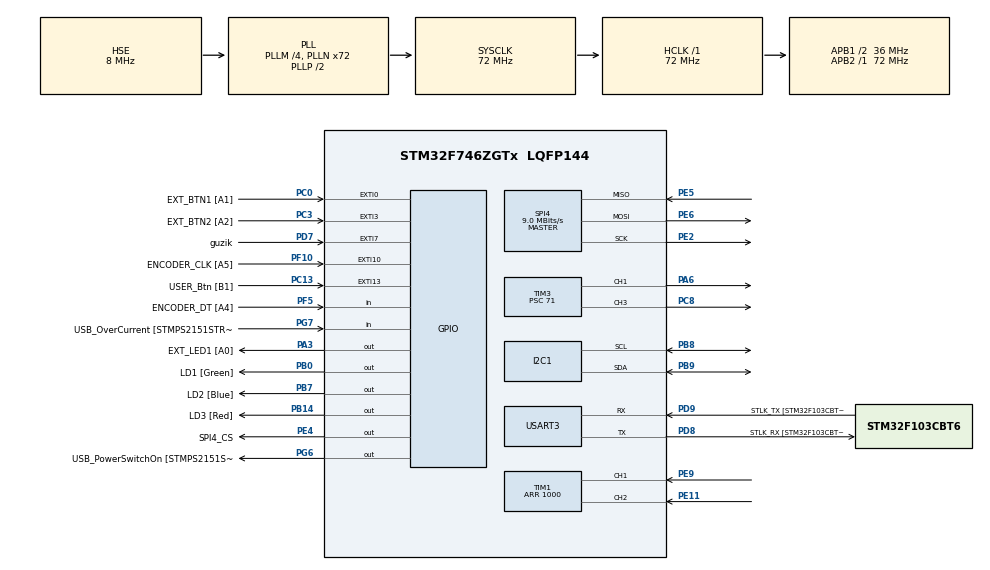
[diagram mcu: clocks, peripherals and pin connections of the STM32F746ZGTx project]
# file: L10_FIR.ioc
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I2C1.Timing=0x00808CD2
Mcu.Family=STM32F7
Mcu.Name=STM32F746ZGTx
Mcu.Package=LQFP144
NVIC.EXTI0_IRQn=true\:0\:0\:false\:false\:true\:true\:true
NVIC.EXTI15_10_IRQn=true\:0\:0\:false\:false\:true\:true\:true
NVIC.EXTI3_IRQn=true\:0\:0\:false\:false\:true\:true\:true
NVIC.EXTI9_5_IRQn=true\:0\:0\:false\:false\:true\:true\:true
NVIC.PriorityGroup=NVIC_PRIORITYGROUP_4
NVIC.TIM1_BRK_TIM9_IRQn=true\:0\:0\:false\:false\:true\:true\:true
NVIC.TIM1_CC_IRQn=true\:0\:0\:false\:false\:true\:true\:true
NVIC.TIM1_TRG_COM_TIM11_IRQn=true\:0\:0\:false\:false\:true\:true\:true
NVIC.TIM1_UP_TIM10_IRQn=true\:0\:0\:false\:false\:true\:true\:true
NVIC.USART3_IRQn=true\:0\:0\:false\:false\:true\:true\:true
PA1.GPIO_Label=RMII_REF_CLK [LAN8742A-CZ-TR_REFCLK0]
PA1.Signal=ETH_REF_CLK
PA10.GPIO_Label=USB_ID
PA10.Signal=USB_OTG_FS_ID
PA11.GPIO_Label=USB_DM
PA11.Signal=USB_OTG_FS_DM
PA12.GPIO_Label=USB_DP
PA12.Signal=USB_OTG_FS_DP
PA13.GPIO_Label=TMS
PA13.Mode=Serial_Wire
PA13.Signal=SYS_JTMS-SWDIO
PA14.GPIO_Label=TCK
PA14.Mode=Serial_Wire
PA14.Signal=SYS_JTCK-SWCLK
PA2.GPIO_Label=RMII_MDIO [LAN8742A-CZ-TR_MDIO]
PA2.Signal=ETH_MDIO
PA3.GPIO_Label=EXT_LED1 [A0]
PA3.Signal=GPIO_Output
PA6.Signal=S_TIM3_CH1
PA7.GPIO_Label=RMII_CRS_DV [LAN8742A-CZ-TR_CRS_DV]
PA7.Signal=ETH_CRS_DV
PA8.GPIO_Label=USB_SOF [TP1]
PA8.Signal=USB_OTG_FS_SOF
PA9.GPIO_Label=USB_VBUS
PA9.Signal=USB_OTG_FS_VBUS
PB0.GPIO_Label=LD1 [Green]
PB0.Signal=GPIO_Output
PB13.GPIO_Label=RMII_TXD1 [LAN8742A-CZ-TR_TXD1]
PB13.Signal=ETH_TXD1
PB14.GPIO_Label=LD3 [Red]
PB14.Signal=GPIO_Output
PB3.GPIO_Label=SW0
PB3.Signal=SYS_JTDO-SWO
PB7.GPIO_Label=LD2 [Blue]
PB7.Signal=GPIO_Output
PB8.Mode=I2C
PB8.Signal=I2C1_SCL
PB9.Mode=I2C
PB9.Signal=I2C1_SDA
PC0.GPIO_Label=EXT_BTN1 [A1]
PC0.GPIO_ModeDefaultEXTI=GPIO_MODE_IT_FALLING
PC0.Signal=GPXTI0
PC1.GPIO_Label=RMII_MDC [LAN8742A-CZ-TR_MDC]
PC1.Signal=ETH_MDC
PC13.GPIO_Label=USER_Btn [B1]
PC13.Signal=GPXTI13
PC14/OSC32_IN.Mode=LSE-External-Oscillator
PC14/OSC32_IN.Signal=RCC_OSC32_IN
PC15/OSC32_OUT.Mode=LSE-External-Oscillator
PC15/OSC32_OUT.Signal=RCC_OSC32_OUT
PC3.GPIO_Label=EXT_BTN2 [A2]
PC3.GPIO_ModeDefaultEXTI=GPIO_MODE_IT_RISING
PC3.Signal=GPXTI3
PC4.GPIO_Label=RMII_RXD0 [LAN8742A-CZ-TR_RXD0]
PC4.Signal=ETH_RXD0
PC5.GPIO_Label=RMII_RXD1 [LAN8742A-CZ-TR_RXD1]
PC5.Signal=ETH_RXD1
PC8.Signal=S_TIM3_CH3
PD7.GPIO_Label=guzik
PD7.Signal=GPXTI7
PD8.GPIO_Label=STLK_RX [STM32F103CBT6_PA3]
PD8.Mode=Asynchronous
PD8.Signal=USART3_TX
PD9.GPIO_Label=STLK_TX [STM32F103CBT6_PA2]
PD9.Mode=Asynchronous
PD9.Signal=USART3_RX
PE11.Signal=S_TIM1_CH2
PE2.Mode=Full_Duplex_Master
PE2.Signal=SPI4_SCK
PE4.GPIO_Label=SPI4_CS
PE4.Signal=GPIO_Output
PE5.Mode=Full_Duplex_Master
PE5.Signal=SPI4_MISO
PE6.Mode=Full_Duplex_Master
PE6.Signal=SPI4_MOSI
PE9.Signal=S_TIM1_CH1
PF10.GPIO_Label=ENCODER_CLK [A5]
PF10.Signal=GPXTI10
PF5.GPIO_Label=ENCODER_DT [A4]
PF5.Signal=GPIO_Input
PG11.GPIO_Label=RMII_TX_EN [LAN8742A-CZ-TR_TXEN]
PG11.Signal=ETH_TX_EN
PG13.GPIO_Label=RMII_TXD0 [LAN8742A-CZ-TR_TXD0]
PG13.Signal=ETH_TXD0
PG6.GPIO_Label=USB_PowerSwitchOn [STMPS2151STR_EN]
PG6.Signal=GPIO_Output
PG7.GPIO_Label=USB_OverCurrent [STMPS2151STR_FAULT]
PG7.Signal=GPIO_Input
PH0/OSC_IN.GPIO_Label=MCO [STM32F103CBT6_PA8]
PH0/OSC_IN.Mode=HSE-External-Clock-Source
PH0/OSC_IN.Signal=RCC_OSC_IN
PH1/OSC_OUT.Mode=HSE-External-Clock-Source
PH1/OSC_OUT.Signal=RCC_OSC_OUT
ProjectManager.HeapSize=0x200
ProjectManager.StackSize=0x400
ProjectManager.TargetToolchain=STM32CubeIDE
RCC.48MHZClocksFreq_Value=24000000
RCC.AHBFreq_Value=72000000
RCC.APB1CLKDivider=RCC_HCLK_DIV2
RCC.APB1Freq_Value=36000000
RCC.APB1TimFreq_Value=72000000
RCC.APB2Freq_Value=72000000
RCC.APB2TimFreq_Value=72000000
RCC.CortexFreq_Value=72000000
RCC.HCLKFreq_Value=72000000
RCC.HSE_VALUE=8000000
RCC.HSI_VALUE=16000000
RCC.PLLM=4
RCC.PLLMUL=RCC_PLL_MUL9
RCC.PLLN=72
RCC.PLLQ=3
RCC.PLLSourceVirtual=RCC_PLLSOURCE_HSE
RCC.PRESCALERUSB=RCC_USBCLKSOURCE_PLL_DIV1_5
RCC.SYSCLKFreq_VALUE=72000000
RCC.SYSCLKSource=RCC_SYSCLKSOURCE_PLLCLK
RCC.SYSCLKSourceVirtual=RCC_SYSCLKSOURCE_PLLCLK
RCC.USBFreq_Value=48000000
RCC.VCOOutputFreq_Value=144000000
SH.S_TIM1_CH1.0=TIM1_CH1,Encoder_Interface
SH.S_TIM1_CH2.0=TIM1_CH2,Encoder_Interface
SH.S_TIM3_CH1.0=TIM3_CH1,PWM Generation1 CH1
SH.S_TIM3_CH3.0=TIM3_CH3,PWM Generation3 CH3
SPI4.BaudRatePrescaler=SPI_BAUDRATEPRESCALER_8
SPI4.CLKPhase=SPI_PHASE_2EDGE
SPI4.CLKPolarity=SPI_POLARITY_HIGH
SPI4.CalculateBaudRate=9.0 MBits/s
SPI4.DataSize=SPI_DATASIZE_8BIT
SPI4.Direction=SPI_DIRECTION_2LINES
SPI4.Mode=SPI_MODE_MASTER
SPI4.VirtualType=VM_MASTER
TIM1.EncoderMode=TIM_ENCODERMODE_TI12
TIM1.IC1Filter=15
TIM1.IC2Filter=15
TIM1.Period=1000
TIM3.Channel-PWM\ Generation1\ CH1=TIM_CHANNEL_1
TIM3.Channel-PWM\ Generation3\ CH3=TIM_CHANNEL_3
TIM3.Period=999
TIM3.Prescaler=71
TIM3.Pulse-PWM\ Generation3\ CH3=1000
USART3.VirtualMode-Asynchronous=VM_ASYNC
VP_TIM3_VS_ClockSourceINT.Mode=Internal
board=NUCLEO-F746ZG

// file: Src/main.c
/* USER CODE BEGIN Header */
/**
  ******************************************************************************
  * @file           : main.c
  * @brief          : Main program body
  ******************************************************************************
  * @attention
  *
  * <h2><center>&copy; Copyright (c) 2019 STMicroelectronics.
  * All rights reserved.</center></h2>
  *
  * This software component is licensed by ST under BSD 3-Clause license,
  * the "License"; You may not use this file except in compliance with the
  * License. You may obtain a copy of the License at:
  *                        opensource.org/licenses/BSD-3-Clause
  *
  ******************************************************************************
  */
/*TODO*/
/*
	*Code refactoring
	*make independent encoder from while loop == make dependent encoder from timer
	*make independent LCD from while loop == make dependent LCD from timer
*/
/*AUTHORS*/
/*
	Bartosz Podkanski && Patryk Pilarski
	February 2020
	PID implementation on STM32 using CMSIS library
*/

/* USER CODE END Header */

#include "main.h"
#include "i2c.h"
#include "spi.h"
#include "tim.h"
#include "usart.h"
#include "gpio.h"

/* USER CODE BEGIN Includes */
#include "arm_math.h"
#include "math_helper.h"
#include "bmp280.h"
#include <stdio.h>
#include "i2c-lcd.h"
#include "stdlib.h"
/* USER CODE END Includes */

/* USER CODE BEGIN PD */
#define SPI_BUFFER_LEN 28
#define BMP280_ADDRESS_INDEX  2
#define BMP280_DATA_INDEX 1
/* USER CODE END PD */

/* USER CODE BEGIN PV */

	// UART for communication with terminal
		uint8_t temp_size;
		char buffer[100];
		char msg[3];
		float set_temp_interrupt;

	// temperatures values
		int32_t temp32;	// bmp
	    double temp;
	    float set_temp=36;
	    float actual_temp=0;

	// PWM duties
		float duty;	// duty resistor PWM
	  	float duty_fan;	// duty fan PWM

	// PID global values
	    float set_kp = 100.0f;
	    float set_ki = 0.1f;
	    float set_kd = 0.0f;
		float error=0;	// offset
	    float pControl=0;	// pControl depends on the error
	    float prev_pControl=0;

	// encoder and LCD variables
		uint8_t stan_obecny_ENC=0;
		uint8_t stan_poprzedni_ENC=0;
		int zlicz_przycisk=0;	// click counting
		int zlicz_poprzednie=0;	// previous state counting
		int button_pressed=0;
	    int menu_activated=0;
	    char zdanie2 [7];	// table for sending temp to LCD

/* USER CODE END PV */

void SystemClock_Config(void);
/* USER CODE BEGIN PFP */

/*function BMP280 sensor*/
int8_t spi_reg_write(uint8_t cs, uint8_t reg_addr, uint8_t *reg_data, uint16_t length)
{
	HAL_StatusTypeDef status = HAL_OK ;
	int32_t iError = BMP280_OK ;
	uint8_t txarray [ SPI_BUFFER_LEN * BMP280_ADDRESS_INDEX ];
	uint8_t stringpos ;

	txarray [0] = reg_addr ;
	 for ( stringpos = 0; stringpos < length ; stringpos ++) {
	txarray [ stringpos + BMP280_DATA_INDEX ] = reg_data [ stringpos ];
	}

	HAL_GPIO_WritePin (SPI4_CS_GPIO_Port , SPI4_CS_Pin , GPIO_PIN_RESET );
	status = HAL_SPI_Transmit ( &hspi4 , ( uint8_t *)(& txarray ), length *2, 100);
	while ( hspi4 . State == HAL_SPI_STATE_BUSY ) {};
	HAL_GPIO_WritePin ( SPI4_CS_GPIO_Port , SPI4_CS_Pin , GPIO_PIN_SET );

	if ( status != HAL_OK )
	{
	// The BMP280 API calls for 0 return value as a success ,
	// and -1 returned as failure
	iError = ( -1);
	 }
	return ( int8_t ) iError ;
}
int8_t spi_reg_read(uint8_t cs, uint8_t reg_addr, uint8_t *reg_data, uint16_t length)
{
	HAL_StatusTypeDef status = HAL_OK ;
	 int32_t iError = BMP280_OK ;
	 uint8_t txarray [ SPI_BUFFER_LEN ] = {0 ,};
	uint8_t rxarray [ SPI_BUFFER_LEN ] = {0 ,};
	 uint8_t stringpos ;

	 txarray [0] = reg_addr ;

	HAL_GPIO_WritePin ( SPI4_CS_GPIO_Port , SPI4_CS_Pin , GPIO_PIN_RESET );
	status = HAL_SPI_TransmitReceive ( &hspi4 , ( uint8_t *)(& txarray ),
	( uint8_t *)(& rxarray ), length +1, 5);
	while ( hspi4 . State == HAL_SPI_STATE_BUSY ) {};
	HAL_GPIO_WritePin ( SPI4_CS_GPIO_Port , SPI4_CS_Pin , GPIO_PIN_SET );

	for ( stringpos = 0; stringpos < length ; stringpos ++) {
	 *( reg_data + stringpos ) = rxarray [ stringpos + BMP280_DATA_INDEX ];
	 }

	 if ( status != HAL_OK )
	 {
	 // The BMP280 API calls for 0 return value as a success ,
	 // and -1 returned as failure
	 iError = ( -1);
	 }
	 return ( int8_t ) iError ;
}
/*function BMP280 sensor END*/

/* USER CODE END PFP */

int main(void)
{
  /* USER CODE BEGIN 1 */

	//BMP280 sensor variables and structs
	int8_t rslt;
	struct bmp280_dev bmp;
	struct bmp280_config conf;
	struct bmp280_uncomp_data ucomp_data;
	int32_t temp_swv;
	uint8_t sp_data[200];
	uint16_t sp_size;

  /* USER CODE END 1 */

  /* MCU Configuration--------------------------------------------------------*/

  /* Reset of all peripherals, Initializes the Flash interface and the Systick. */
  HAL_Init();

  /* Configure the system clock */
  SystemClock_Config();

  /* Initialize all configured peripherals */
  MX_GPIO_Init();
  MX_USART3_UART_Init();
  MX_I2C1_Init();
  MX_SPI4_Init();
  MX_TIM3_Init();
  MX_TIM1_Init();
  /* USER CODE BEGIN 2 */
  HAL_TIM_Base_Start_IT(&htim3);
  lcd_init();
  HAL_TIM_Encoder_Start(&htim1, TIM_CHANNEL_ALL);
  HAL_TIM_PWM_Start(&htim3, TIM_CHANNEL_3);
  HAL_TIM_PWM_Start(&htim3, TIM_CHANNEL_1);

	/*BMP280 CONFIGURATION*/

	/* Map the delay function pointer with the function responsible for implementing the delay */
		bmp.delay_ms = HAL_Delay;
    /* Assign device I2C address based on the status of SDO pin (GND for PRIMARY(0x76) & VDD for SECONDARY(0x77)) */
		bmp.dev_id = 0;
    /* Select the interface mode as I2C */
		bmp.intf = BMP280_SPI_INTF;
    /* Map the I2C read & write function pointer with the functions responsible for I2C bus transfer */
		bmp.read = spi_reg_read;
		bmp.write = spi_reg_write;
		rslt = bmp280_init(&bmp);
		rslt = bmp280_get_config(&conf, &bmp);
    /* configuring the temperature oversampling, filter coefficient and output data rate */
    /* Overwrite the desired settings */
		conf.filter = BMP280_FILTER_COEFF_2;
    /* Temperature oversampling set at 4x */
		conf.os_temp = BMP280_OS_4X;
	/* Pressure over sampling none (disabling pressure measurement) */
		conf.os_pres = BMP280_OS_4X;
	/* Setting the output data rate as 1HZ(1000ms) */
		conf.odr = BMP280_ODR_1000_MS;
		rslt = bmp280_set_config(&conf, &bmp);
	/* Always set the power mode after setting the configuration */
		rslt = bmp280_set_power_mode(BMP280_NORMAL_MODE, &bmp);

	/*BMP280 CONFIGURATION END*/
	/*https://github.com/BoschSensortec/BMP280_driver*/

    /* PID INIT*/
		arm_pid_instance_f32 pid;
		arm_pid_init_f32(&pid, 1);

  /* USER CODE END 2 */
  /* Infinite loop */
  /* USER CODE BEGIN WHILE */
  while (1)
  {
	/* Reading the raw data from BMP280 sensor */
		rslt = bmp280_get_uncomp_data(&ucomp_data, &bmp);
	/* Getting the 32 bit compensated temperature */
		rslt = bmp280_get_comp_temp_32bit(&temp32, ucomp_data.uncomp_temp, &bmp);
	/* Getting the compensated temperature as floating point value */
		rslt = bmp280_get_comp_temp_double(&temp, ucomp_data.uncomp_temp, &bmp);

	/* calculate error/offset */
		actual_temp = temp;	// actual temp = temp from sensor
		error = (set_temp-actual_temp);	// offset

	/* value returned by controller */
		pControl=arm_pid_f32(&pid, error);	// pControl depends on the error

	/* sending variable temp from the sensor to the terminal */
		temp_size=sprintf(&buffer, "TEMP: %f \n\r",temp);	// calculate size of the message
		HAL_UART_Transmit(&huart3, (uint8_t*)buffer, temp_size, 0xffff);	// sending temp to the terminal
		HAL_UART_Receive_IT(&huart3, &msg, 2);	// listening terminal

	/* duty limit ( __HAL_TIM_SET_COMPARE() takes PWM duty from 0 to 1000) */
		if(pControl<0){
			pControl=0;
		}
		if(pControl >1000){
			pControl=1000;
		}

		duty=pControl; // duty of PWM signal for resistor

	/* fan on–off controller */
		if(error<0){
			duty_fan=1000;
		}
		else
			duty_fan=0;

	/* setting PWM */
		__HAL_TIM_SET_COMPARE(&htim3, TIM_CHANNEL_1,duty_fan);	// PWM fan
		__HAL_TIM_SET_COMPARE(&htim3, TIM_CHANNEL_3,duty);	// PWM resistor

	/********************LCD*****************/
	/* https://controllerstech.com/i2c-lcd-in-stm32 */

	/* encoder button filter ****see section TODO**** */
		if(zlicz_przycisk>zlicz_poprzednie){
			menu_activated++;	// every click increase menu_activated == going to next page
			if(menu_activated>=5){
				menu_activated=0;
			}
			HAL_Delay(20);
		}
		zlicz_poprzednie=zlicz_przycisk;	//remember last encoder click *****see section HAL_GPIO_EXTI_Callback() bellow*****

	/* MENU MAIN PAGE */
		if(menu_activated==0)
		{
			lcd_clear();
			lcd_put_cur(0, 2);
			lcd_send_string("PID control");

			lcd_put_cur(1, 0);
			sprintf(zdanie2,"S:%.1f", set_temp);
			lcd_send_string(zdanie2);

			lcd_put_cur(1, 8);
			sprintf(zdanie2,"R:%.2f",temp);
			lcd_send_string(zdanie2);

			// main page END
		}

	/* menu first page, set temperature */
		if(menu_activated==1)
		{
			lcd_clear();
			lcd_put_cur(0, 0);
			lcd_send_string("Set temperature:");

			sprintf(zdanie2,"S:%.1f", set_temp);
			lcd_put_cur(1, 6);
			lcd_send_string(zdanie2);

			/* choosing values with encoder */

				stan_obecny_ENC=htim1.Instance->CNT;	// present encoder position
				if(stan_poprzedni_ENC<stan_obecny_ENC)	// if previous state is less than present state
				{
					set_temp-=1;
				}
				if(stan_poprzedni_ENC>stan_obecny_ENC)	// if previous state is more than present state
				{
					set_temp+=1;
				}
				stan_poprzedni_ENC=stan_obecny_ENC; // remember last encoder state

			// first page END
		}

	/* menu second page, set kp */

		if(menu_activated==2)
		{
			lcd_clear();
			lcd_put_cur(0, 0);
			lcd_send_string("Set Kp value:");

			sprintf(zdanie2, "Kp:%.1f", pid.Kp);
			lcd_put_cur(1, 6);
			lcd_send_string(zdanie2);

			/* choosing values with encoder */

				stan_obecny_ENC=htim1.Instance->CNT;
				if(stan_poprzedni_ENC<stan_obecny_ENC)
				{
					set_kp-=10;
				}
				if(stan_poprzedni_ENC>stan_obecny_ENC)
				{
					set_kp+=10;
				}
				stan_poprzedni_ENC=stan_obecny_ENC;

			// second page END
		}
	/* menu third page, set ki */
	  	if(menu_activated==3)
	  	{
	  		lcd_clear();
	  		lcd_put_cur(0, 0);
	  		lcd_send_string("Set Ki value:");

	  		sprintf(zdanie2, "Ki:%.1f", pid.Ki);
	  		lcd_put_cur(1, 6);
	  		lcd_send_string(zdanie2);

	  		/* choosing values with encoder */
	  			stan_obecny_ENC=htim1.Instance->CNT;
	  			if(stan_poprzedni_ENC<stan_obecny_ENC)
	  			{
	  				set_ki-=1;
	  			}
	  			if(stan_poprzedni_ENC>stan_obecny_ENC)
	  			{
	  				set_ki+=1;
	  			}
	  			stan_poprzedni_ENC=stan_obecny_ENC;

			// third page END
	  	}

	/* menu fourth page, set kd */
	  	if(menu_activated==4)
	  	{
	  		lcd_clear();
	  		lcd_put_cur(0, 0);
	  		lcd_send_string("Set Kd value:");

	  		sprintf(zdanie2, "Kd:%.1f", pid.Kd);
	  		lcd_put_cur(1, 6);
	  		lcd_send_string(zdanie2);

	  	/* choosing values with encoder */
				stan_obecny_ENC=htim1.Instance->CNT;
				if(stan_poprzedni_ENC<stan_obecny_ENC)
				{
					set_kd-=1;
				}
				if(stan_poprzedni_ENC>stan_obecny_ENC)
				{
					set_kd+=1;
				}
				stan_poprzedni_ENC=stan_obecny_ENC;
			// fourth page END
	  	}

	/* set choosen values to global */

	  	pid.Kp=set_kp;
	  	pid.Kd=set_kd;
	  	pid.Ki=set_ki;

    /* USER CODE END WHILE */

    /* USER CODE BEGIN 3 */
	HAL_Delay(250); // Main loop delay
  }
  /* USER CODE END 3 */
}

void SystemClock_Config(void)
{
  RCC_OscInitTypeDef RCC_OscInitStruct = {0};
  RCC_ClkInitTypeDef RCC_ClkInitStruct = {0};
  RCC_PeriphCLKInitTypeDef PeriphClkInitStruct = {0};

  /** Configure LSE Drive Capability
  */
  HAL_PWR_EnableBkUpAccess();
  /** Configure the main internal regulator output voltage
  */
  __HAL_RCC_PWR_CLK_ENABLE();
  __HAL_PWR_VOLTAGESCALING_CONFIG(PWR_REGULATOR_VOLTAGE_SCALE3);
  /** Initializes the CPU, AHB and APB busses clocks
  */
  RCC_OscInitStruct.OscillatorType = RCC_OSCILLATORTYPE_HSE;
  RCC_OscInitStruct.HSEState = RCC_HSE_BYPASS;
  RCC_OscInitStruct.PLL.PLLState = RCC_PLL_ON;
  RCC_OscInitStruct.PLL.PLLSource = RCC_PLLSOURCE_HSE;
  RCC_OscInitStruct.PLL.PLLM = 4;
  RCC_OscInitStruct.PLL.PLLN = 72;
  RCC_OscInitStruct.PLL.PLLP = RCC_PLLP_DIV2;
  RCC_OscInitStruct.PLL.PLLQ = 3;
  if (HAL_RCC_OscConfig(&RCC_OscInitStruct) != HAL_OK)
  {
    Error_Handler();
  }
  /** Initializes the CPU, AHB and APB busses clocks
  */
  RCC_ClkInitStruct.ClockType = RCC_CLOCKTYPE_HCLK|RCC_CLOCKTYPE_SYSCLK
                              |RCC_CLOCKTYPE_PCLK1|RCC_CLOCKTYPE_PCLK2;
  RCC_ClkInitStruct.SYSCLKSource = RCC_SYSCLKSOURCE_PLLCLK;
  RCC_ClkInitStruct.AHBCLKDivider = RCC_SYSCLK_DIV1;
  RCC_ClkInitStruct.APB1CLKDivider = RCC_HCLK_DIV2;
  RCC_ClkInitStruct.APB2CLKDivider = RCC_HCLK_DIV1;

  if (HAL_RCC_ClockConfig(&RCC_ClkInitStruct, FLASH_LATENCY_2) != HAL_OK)
  {
    Error_Handler();
  }
  PeriphClkInitStruct.PeriphClockSelection = RCC_PERIPHCLK_USART3|RCC_PERIPHCLK_I2C1;
  PeriphClkInitStruct.Usart3ClockSelection = RCC_USART3CLKSOURCE_PCLK1;
  PeriphClkInitStruct.I2c1ClockSelection = RCC_I2C1CLKSOURCE_PCLK1;
  if (HAL_RCCEx_PeriphCLKConfig(&PeriphClkInitStruct) != HAL_OK)
  {
    Error_Handler();
  }
}

/* USER CODE BEGIN 4 */
void HAL_UART_RxCpltCallback(UART_HandleTypeDef *htim)
{
	/* conversion set temperature from terminal */
	char value1[2];

	value1[0]=msg[0];
	value1[1]=msg[1];
	set_temp_interrupt=atoi(value1);

	/* set temp limit; temperature can be inflicted from 20 to 40; else set temp from terminal */
	if(set_temp_interrupt>40)
	{
		HAL_UART_Transmit(&huart3, "ERROR \n\r", 8, 0xffff);
	}
	if(set_temp_interrupt<20)
	{
		HAL_UART_Transmit(&huart3, "ERROR \n\r", 8, 0xffff);
	}
	if((set_temp_interrupt>=20)&&set_temp_interrupt<=40)
	{
	set_temp=set_temp_interrupt;
	}
}

/* interrupt from gpio */
void HAL_GPIO_EXTI_Callback(uint16_t GPIO_Pin)
{
	/* encoder clicks */
	if(GPIO_Pin==guzik_Pin)
	{
		zlicz_przycisk++;
	}
}

/* USER CODE END 4 */

void Error_Handler(void)
{
  /* USER CODE BEGIN Error_Handler_Debug */
  /* User can add his own implementation to report the HAL error return state */
  HAL_GPIO_WritePin(LD1_GPIO_Port, LD1_Pin, GPIO_PIN_RESET);
  HAL_GPIO_WritePin(LD2_GPIO_Port, LD2_Pin, GPIO_PIN_RESET);
  HAL_GPIO_WritePin(LD3_GPIO_Port, LD3_Pin, GPIO_PIN_RESET);
  while(1)
  {
	  HAL_GPIO_TogglePin(LD3_GPIO_Port, LD3_Pin);
	  HAL_Delay(100);
  }
  /* USER CODE END Error_Handler_Debug */
}

/************************ (C) COPYRIGHT STMicroelectronics *****END OF FILE****/
